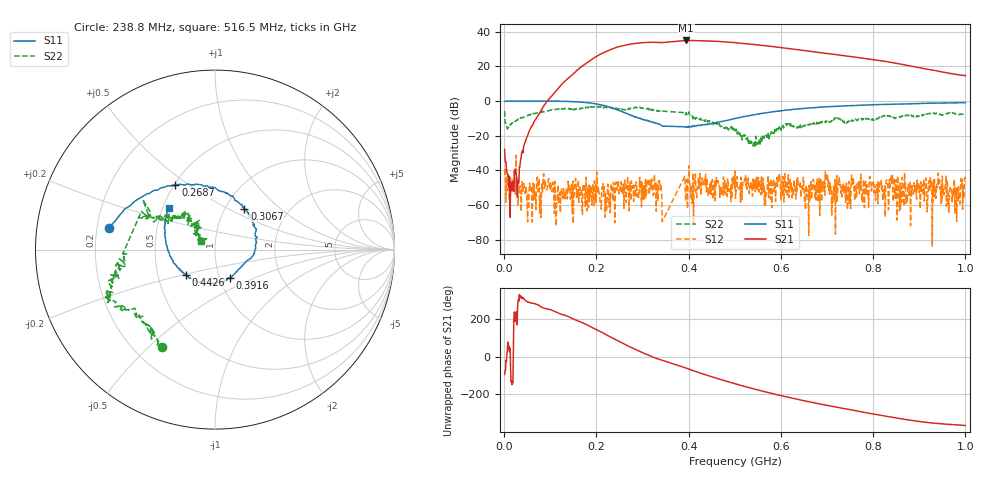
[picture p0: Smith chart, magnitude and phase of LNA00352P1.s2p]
! Created with skrf 1.9.0 (http://scikit-rf.org).
# Hz S RI R 50.0
!freq ReS11 ImS11 ReS21 ImS21 ReS12 ImS12 ReS22 ImS22
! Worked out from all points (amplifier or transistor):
!   953 points, 1 MHz to 1 GHz, reference 50 ohm
!   highest |S21| = 35.0 dB at 394.6 MHz (marker M1)
!   |S21| within 3 dB of that: 257.5 MHz to 565.5 MHz (308 MHz wide, 74.8 % of centre)
!   unconditionally stable (mu >= 1): 214.9 MHz to 293.7 MHz; 325.7 MHz to 400.1 MHz; 401 MHz to end of sweep (the widest 3 of 31)
!   at 158.8 MHz: K = 2.77, MAG = 29.4 dB, |S12| = -55.4 dB
!   at 524.5 MHz: K = 2.82, MAG = 33.7 dB, |S12| = -49.1 dB
!   at 1 GHz: K = 3.25, MAG = 22.6 dB, |S12| = -46.6 dB
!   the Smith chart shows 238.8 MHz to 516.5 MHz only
!   S11 on the Smith chart (normalised r, x): 238.8 MHz: 0.25, +0.09; 268.7 MHz: 0.51, +0.44; 306.7 MHz: 1.23, +0.61; 391.6 MHz: 1.12, -0.37; 442.6 MHz: 0.70, -0.21; 516.5 MHz: 0.54, +0.29
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1000000  0.9749 0.0103  -0.0028 -0.0402  -0.00231 0.00695  0.398 0.3281
1.08892e8  0.5111 -0.8536  -0.8154 -1.51  -0.000445 -0.000367  0.4292 -0.3584
1.67833e8  -0.2548 -0.8942  -9.868 -0.4944  0.00126 -0.0022  0.0416 -0.6253
2.07793e8  -0.6803 -0.3964  -15.67 15.62  0.00123 0.000105  -0.2059 -0.6391
2.38762e8  -0.5923 0.1202  -2.624 33.57  -0.00385 -0.00117  -0.295 -0.5435
2.68732e8  -0.2203 0.3584  22.78 35.95  -0.00187 -0.0019  -0.4806 -0.3386
3.06694e8  0.1642 0.2282  47.37 12.36  -0.00552 -0.000173  -0.585 -0.1903
3.34666e8  0.2195 -0.0215  48.05 -10.61  0.00228 0.00434  -0.5119 -0.0682
3.38662e8  0.2021 -0.0451  46.96 -13.12  0.00099 0.00281  -0.5098 -0.033
3.42658e8  0.1798 -0.0606  46.12 -15.33  -0.000335 4.11e-06  -0.5132 -0.0223
3.91609e8  0.0848 -0.1602  29.92 -47.25  0.00197 0.00646  -0.4097 0.2136
3.94606e8  0.0713 -0.1623  27.88 -48.6  -0.00128 0.000745  -0.4257 0.1799
4.12588e8  -0.0166 -0.1895  13.91 -53.89  0.00199 0.003  -0.2877 0.1696
4.42558e8  -0.1598 -0.1434  -9.256 -53.54  0.00234 0.000758  -0.1764 0.1951
5.005e8  -0.276 0.1488  -38.66 -29.28  0.00784 -0.00548  -0.1064 0.0766
5.16484e8  -0.257 0.2333  -41.18 -20.47  0.00293 -0.00343  -0.076 0.0487
5.53447e8  -0.1442 0.4037  -41.24 -1.551  0.00261 -0.00196  -0.0803 -0.00563
5.9041e8  0.034 0.5046  -33.92 12.73  0.0035 -0.00219  -0.1323 -0.0732
6.67333e8  0.4041 0.4954  -12.59 23.5  -0.00235 -7.19e-06  -0.2208 -0.0328
7.54246e8  0.6872 0.2785  4.054 18.6  -0.0025 -0.00265  -0.2644 0.0087
8.34166e8  0.8027 0.0165  9.936 8.984  -0.000868 -0.000765  -0.3781 0.0273
1e9  0.7299 -0.5269  5.417 -0.4067  -0.00342 -0.00321  -0.2859 0.3253
